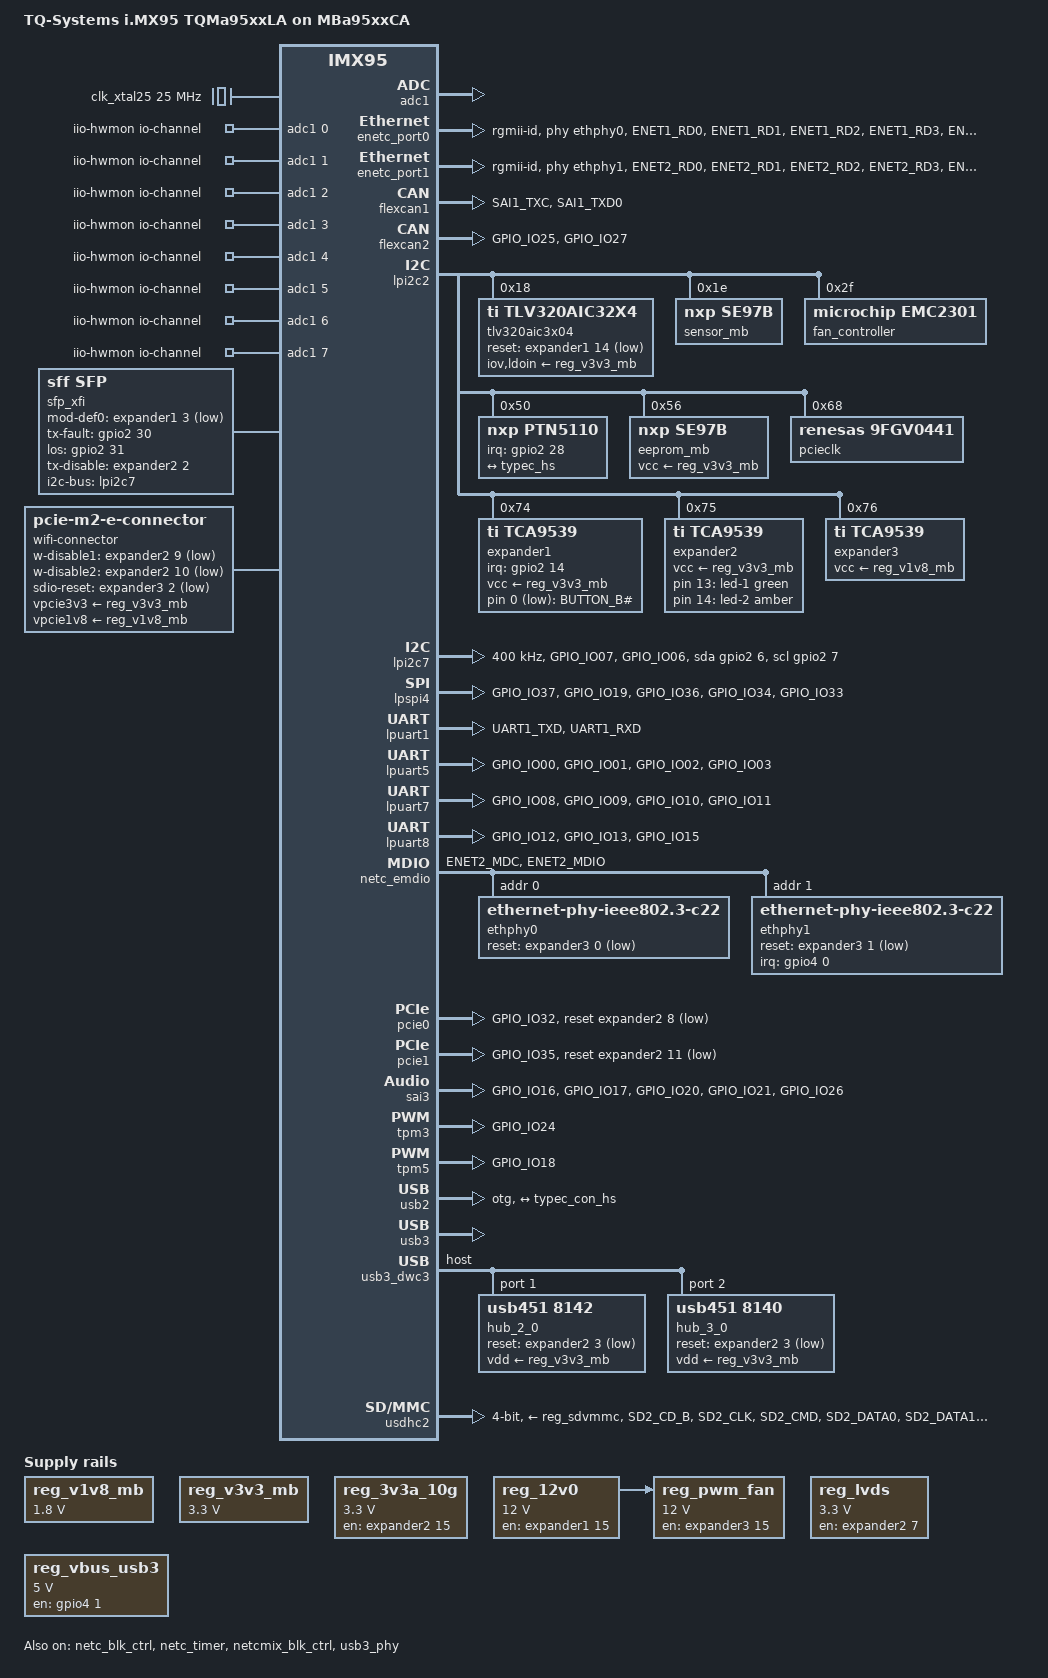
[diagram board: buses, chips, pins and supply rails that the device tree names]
// SPDX-License-Identifier: (GPL-2.0-or-later OR MIT)
/*
 * Copyright (c) 2024-2026 TQ-Systems GmbH <linux@ew.tq-group.com>,
 * D-82229 Seefeld, Germany.
 * Author: Alexander Stein
 * Author: Markus Niebel
 */

/dts-v1/;

#include <dt-bindings/leds/common.h>
#include <dt-bindings/net/ti-dp83867.h>
#include <dt-bindings/pwm/pwm.h>
#include <dt-bindings/usb/pd.h>
#include "imx95-tqma9596la.dtsi"

/ {
	model = "TQ-Systems i.MX95 TQMa95xxLA on MBa95xxCA";
	compatible = "tq,imx95-tqma9596la-mba95xxca", "tq,imx95-tqma9596la", "fsl,imx95";
	chassis-type = "embedded";

	aliases {
		ethernet0 = &enetc_port0;
		ethernet1 = &enetc_port1;
		ethernet2 = &enetc_port2;
		gpio0 = &gpio1;
		gpio1 = &gpio2;
		gpio2 = &gpio3;
		gpio3 = &gpio4;
		i2c0 = &lpi2c1;
		i2c1 = &lpi2c2;
		i2c2 = &lpi2c3;
		i2c3 = &lpi2c4;
		i2c4 = &lpi2c5;
		i2c5 = &lpi2c6;
		i2c6 = &lpi2c7;
		i2c7 = &lpi2c8;
		mmc0 = &usdhc1;
		mmc1 = &usdhc2;
		rtc0 = &pcf85063;
		rtc1 = &scmi_bbm;
		serial0 = &lpuart1;
		serial1 = &lpuart2;
		serial2 = &lpuart3;
		serial3 = &lpuart4;
		serial4 = &lpuart5;
		serial5 = &lpuart6;
		serial6 = &lpuart7;
		serial7 = &lpuart8;
		spi0 = &flexspi1;
	};

	chosen {
		stdout-path = &lpuart1;
	};

	backlight_lvds: backlight-lvds {
		compatible = "pwm-backlight";
		pwms = <&tpm5 2 100000 0>;
		brightness-levels = <0 4 8 16 32 64 128 255>;
		default-brightness-level = <7>;
		enable-gpios = <&expander2 6 GPIO_ACTIVE_HIGH>;
		power-supply = <&reg_12v0>;
		status = "disabled";
	};

	clk_eth: clk-eth {
		compatible = "fixed-clock";
		#clock-cells = <0>;
		clock-frequency = <156250000>;
	};

	/*
	 * TODO: gate is disabled for now and GPIO are hogged
	 * ENETC driver switches the clock far too late for ENETC2 + SFP
	 */
	clk_eth_gate: clk-eth-gate {
		compatible = "gpio-gate-clock";
		enable-gpios = <&expander2 0 GPIO_ACTIVE_HIGH>;
		clocks = <&clk_eth>;
		#clock-cells = <0>;
		status = "disabled";
	};

	clk_xtal25: clk-xtal25 {
		compatible = "fixed-clock";
		#clock-cells = <0>;
		clock-frequency = <25000000>;
	};

	gpio-keys {
		compatible = "gpio-keys";
		autorepeat;

		button-b {
			label = "BUTTON_B#";
			linux,code = <BTN_1>;
			gpios = <&expander1 0 GPIO_ACTIVE_LOW>;
			wakeup-source;
		};
	};

	gpio-leds {
		compatible = "gpio-leds";

		led-1 {
			color = <LED_COLOR_ID_GREEN>;
			function = LED_FUNCTION_STATUS;
			gpios = <&expander2 13 GPIO_ACTIVE_HIGH>;
			linux,default-trigger = "default-on";
		};

		led-2 {
			color = <LED_COLOR_ID_AMBER>;
			function = LED_FUNCTION_HEARTBEAT;
			gpios = <&expander2 14 GPIO_ACTIVE_HIGH>;
			linux,default-trigger = "heartbeat";
		};
	};

	iio-hwmon {
		compatible = "iio-hwmon";
		io-channels = <&adc1 0>, <&adc1 1>, <&adc1 2>, <&adc1 3>,
			      <&adc1 4>, <&adc1 5>, <&adc1 6>, <&adc1 7>;
	};

	reg_v1v8_mb: regulator-v1v8-mb {
		compatible = "regulator-fixed";
		regulator-name = "V_1V8_MB";
		regulator-min-microvolt = <1800000>;
		regulator-max-microvolt = <1800000>;
		regulator-always-on;
	};

	reg_v3v3_mb: regulator-v3v3-mb {
		compatible = "regulator-fixed";
		regulator-name = "V_3V3_MB";
		regulator-min-microvolt = <3300000>;
		regulator-max-microvolt = <3300000>;
		regulator-always-on;
	};

	reg_3v3a_10g: regulator-3v3a-10g {
		compatible = "regulator-fixed";
		regulator-name = "3V3A_10G";
		regulator-min-microvolt = <3300000>;
		regulator-max-microvolt = <3300000>;
		gpio = <&expander2 15 GPIO_ACTIVE_HIGH>;
		startup-delay-us = <2000>;
		enable-active-high;
	};

	reg_12v0: regulator-12v0 {
		compatible = "regulator-fixed";
		regulator-name = "12V0";
		regulator-min-microvolt = <12000000>;
		regulator-max-microvolt = <12000000>;
		gpio = <&expander1 15 GPIO_ACTIVE_HIGH>;
		enable-active-high;
	};

	reg_pwm_fan: regulator-pwm-fan {
		compatible = "regulator-fixed";
		regulator-name = "FAN_PWR";
		regulator-min-microvolt = <12000000>;
		regulator-max-microvolt = <12000000>;
		gpio = <&expander3 15 GPIO_ACTIVE_HIGH>;
		enable-active-high;
		vin-supply = <&reg_12v0>;
		/*
		 * emc2305 fan driver lacks support for fan-supply, so
		 * alway enable it for now.
		 * Remove this line once support is added
		 */
		regulator-always-on;
	};

	reg_lvds: regulator-lvds {
		compatible = "regulator-fixed";
		regulator-name = "LCD_PWR_EN";
		regulator-min-microvolt = <3300000>;
		regulator-max-microvolt = <3300000>;
		gpio = <&expander2 7 GPIO_ACTIVE_HIGH>;
		enable-active-high;
	};

	/* USB NC limitations, RM 162.1.2 VBUS limitations */
	reg_vbus_usb3: regulator-vbus-usb3 {
		compatible = "regulator-fixed";
		regulator-min-microvolt = <5000000>;
		regulator-max-microvolt = <5000000>;
		regulator-name = "USB3_VBUS";
		gpio = <&gpio4 1 GPIO_ACTIVE_HIGH>;
		enable-active-high;
	};

	reserved-memory {
		#address-cells = <2>;
		#size-cells = <2>;
		ranges;

		linux_cma: linux,cma {
			compatible = "shared-dma-pool";
			reusable;
			size = <0 0x28000000>;
			alloc-ranges = <0 0x80000000 0 0x80000000>;
			linux,cma-default;
		};
	};

	sfp_xfi: sfp-xfi {
		compatible = "sff,sfp";
		pinctrl-names = "default";
		pinctrl-0 = <&pinctrl_sfp>;
		i2c-bus = <&lpi2c7>;
		maximum-power-milliwatt = <2000>;
		mod-def0-gpios = <&expander1 3 GPIO_ACTIVE_LOW>;
		tx-fault-gpios = <&gpio2 30 GPIO_ACTIVE_HIGH>;
		los-gpios = <&gpio2 31 GPIO_ACTIVE_HIGH>;
		tx-disable-gpios = <&expander2 2 GPIO_ACTIVE_HIGH>;
	};

	sound {
		compatible = "fsl,imx-audio-tlv320aic32x4";
		model = "tqm-tlv320aic32";
		audio-codec = <&tlv320aic3x04>;
		audio-cpu = <&sai3>;
		audio-routing =
			"IN3_L", "Mic Jack",
			"Mic Jack", "Mic Bias",
			"Headphone Jack", "HPL",
			"Headphone Jack", "HPR",
			"IN1_L", "Line In Jack",
			"IN1_R", "Line In Jack",
			"Line Out Jack", "LOL",
			"Line Out Jack", "LOR";
	};

	wifi-connector {
		compatible = "pcie-m2-e-connector";
		vpcie3v3-supply = <&reg_v3v3_mb>;
		vpcie1v8-supply = <&reg_v1v8_mb>;
		i2c-parent = <&lpi2c2>;
		w-disable1-gpios = <&expander2 9 GPIO_ACTIVE_LOW>;
		w-disable2-gpios = <&expander2 10 GPIO_ACTIVE_LOW>;
		/* UART_WAKE is connected to SM */
		/* SDIO_WAKE is connected to SM */
		sdio-reset-gpios = <&expander3 2 GPIO_ACTIVE_LOW>;
	};
};

&adc1 {
	status = "okay";
};

&enetc_port0 {
	pinctrl-names = "default";
	pinctrl-0 = <&pinctrl_enetc0>;
	phy-handle = <&ethphy0>;
	phy-mode = "rgmii-id";
	status = "okay";
};

&enetc_port1 {
	pinctrl-names = "default";
	pinctrl-0 = <&pinctrl_enetc1>;
	phy-handle = <&ethphy1>;
	phy-mode = "rgmii-id";
	status = "okay";
};

/* No support for XFI yet */
&enetc_port2 {
	sfp = <&sfp_xfi>;
	phy-mode = "10gbase-r";
	clocks = <&clk_eth>;
	managed = "in-band-status";
	status = "disabled";
};

&flexcan1 {
	pinctrl-names = "default";
	pinctrl-0 = <&pinctrl_flexcan1>;
	status = "okay";
};

&flexcan2 {
	pinctrl-names = "default";
	pinctrl-0 = <&pinctrl_flexcan2>;
	status = "okay";
};

&lpi2c2 {
	tlv320aic3x04: audio-codec@18 {
		compatible = "ti,tlv320aic32x4";
		reg = <0x18>;
		clocks = <&scmi_clk IMX95_CLK_SAI3>;
		clock-names = "mclk";
		reset-gpios = <&expander1 14 GPIO_ACTIVE_LOW>;
		iov-supply = <&reg_v3v3_mb>;
		ldoin-supply = <&reg_v3v3_mb>;
	};

	sensor_mb: temperature-sensor@1e {
		compatible = "nxp,se97b", "jedec,jc-42.4-temp";
		reg = <0x1e>;
	};

	fan_controller: fan-controller@2f {
		compatible = "microchip,emc2301", "microchip,emc2305";
		reg = <0x2f>;
		#address-cells = <1>;
		#size-cells = <0>;
		#pwm-cells = <3>;
		status = "okay";

		fan: fan@0 {
			reg = <0x0>;
			pwms = <&fan_controller 40000 PWM_POLARITY_INVERTED 1>;
			#cooling-cells = <2>;
			fan-supply = <&reg_pwm_fan>;
		};
	};

	ptn5110: usb-typec@50 {
		compatible = "nxp,ptn5110", "tcpci";
		reg = <0x50>;
		pinctrl-names = "default";
		pinctrl-0 = <&pinctrl_typec>;
		interrupt-parent = <&gpio2>;
		interrupts = <28 IRQ_TYPE_LEVEL_LOW>;

		typec_con: connector {
			compatible = "usb-c-connector";
			label = "X9";
			power-role = "source";
			data-role = "dual";
			source-pdos = <PDO_FIXED(5000, 500, PDO_FIXED_USB_COMM)>;
			self-powered;

			port {
				typec_con_hs: endpoint {
					remote-endpoint = <&typec_hs>;
				};
			};
		};
	};

	eeprom_mb: eeprom@56 {
		compatible = "nxp,se97b", "atmel,24c02";
		reg = <0x56>;
		pagesize = <16>;
		vcc-supply = <&reg_v3v3_mb>;
	};

	pcieclk: clock-generator@68 {
		compatible = "renesas,9fgv0441";
		reg = <0x68>;
		clocks = <&clk_xtal25>;
		#clock-cells = <1>;
	};

	/* D39 IN/OUT 3V3 */
	expander1: gpio@74 {
		compatible = "ti,tca9539";
		reg = <0x74>;
		vcc-supply = <&reg_v3v3_mb>;
		pinctrl-names = "default";
		pinctrl-0 = <&pinctrl_expander1>;
		gpio-controller;
		#gpio-cells = <2>;
		interrupt-controller;
		#interrupt-cells = <2>;
		interrupt-parent = <&gpio2>;
		interrupts = <14 IRQ_TYPE_EDGE_FALLING>;

		gpio-line-names =
			/* 00 */ "BUTTON_B#", "CAM0_SYNC_3V3",
			/* 02 */ "CAM1_SYNC_3V3", "SFP_MOD_ABS",
			/* 04 */ "DIG_IN1", "DIG_IN2",
			/* 06 */ "DIG_IN3", "DIG_IN4",
			/* 08 */ "DIG_OUT_1_2_STATE", "DIG_OUT_3_4_STATE",
			/* 10 */ "DIG_OUT_1_EN", "DIG_OUT_2_EN",
			/* 12 */ "DIG_OUT_3_EN", "DIG_OUT_4_EN",
			/* 14 */ "AUDIO_RST#", "12V_EN";
	};

	/* D40 OUT 3V3 */
	expander2: gpio@75 {
		compatible = "ti,tca9539";
		reg = <0x75>;
		vcc-supply = <&reg_v3v3_mb>;
		gpio-controller;
		#gpio-cells = <2>;

		gpio-line-names =
			/* 00 */ "ETH10G_REFCLK_EN", "ETH10G_REFCLK_RST#",
			/* 02 */ "SFP_TX_DIS", "USB3_RESET#",
			/* 04 */ "USB2_RESET#", "LCD_RESET#",
			/* 06 */ "LCD_BLT_EN", "LCD_PWR_EN",
			/* 08 */ "M2_KEYE_PERST#", "M2_KEYE_WDISABLE1#",
			/* 10 */ "M2_KEYE_WDISABLE2#", "M2_KEYB_PERST#",
			/* 12 */ "M2_KEYB_WDISABLE1#", "USER_LED1",
			/* 14 */ "USER_LED2", "3V3A_10G_EN";

		eth10g-refclk-en-hog {
			gpio-hog;
			gpios = <0 GPIO_ACTIVE_HIGH>;
			output-high;
			line-name = "ETH10G_REFCLK_EN";
		};

		eth10g-refclk-rst-hog {
			gpio-hog;
			gpios = <1 GPIO_ACTIVE_LOW>;
			output-low;
			line-name = "ETH10G_REFCLK_RST#";
		};

		m2-keyb-wdisable1-hog {
			gpio-hog;
			gpios = <12 GPIO_ACTIVE_LOW>;
			output-low;
			line-name = "M2_KEYB_WDISABLE1#";
		};
	};

	/* D41 OUT 1V8 */
	expander3: gpio@76 {
		compatible = "ti,tca9539";
		reg = <0x76>;
		vcc-supply = <&reg_v1v8_mb>;
		gpio-controller;
		#gpio-cells = <2>;

		gpio-line-names =
			/* 00 */ "ENET1_RESET#", "ENET2_RESET#",
			/* 02 */ "M2_KEYE_SDIO_RST#", "M2_KEYE_DEV_WLAN_WAKE#",
			/* 04 */ "M2_KEYE_DEV_BT_WAKE", "M2_KEYB_W_DISABLE2#",
			/* 06 */ "M2_KEYB_RST#", "M2_KEYB_FULL_CARD_PWR_OFF#",
			/* 08 */ "M2_KEYB_DPR", "CAM0_PWR#",
			/* 10 */ "CAM1_PWR#", "CAM0_RST#",
			/* 12 */ "CAM1_RST#", "CAM0_TRIGGER",
			/* 14 */ "CAM1_TRIGGER", "FAN_PWR_EN";

		/* vendor defined pin 42 */
		m2-keye-dev_wlan-wake-hog {
			gpio-hog;
			gpios = <3 GPIO_ACTIVE_LOW>;
			input;
			line-name = "M2_KEYE_DEV_WLAN_WAKE#";
		};

		/* vendor defined pin 40 */
		m2-keye-dev_bt-wake-hog {
			gpio-hog;
			gpios = <4 GPIO_ACTIVE_LOW>;
			input;
			line-name = "M2_KEYE_DEV_BT_WAKE#";
		};

		m2-keyb-wdisable2-hog {
			gpio-hog;
			gpios = <5 GPIO_ACTIVE_LOW>;
			output-low;
			line-name = "M2_KEYB_WDISABLE2#";
		};

		m2-keyb-rst-hog {
			gpio-hog;
			gpios = <6 GPIO_ACTIVE_LOW>;
			output-low;
			line-name = "M2_KEYB_RST#";
		};

		m2-keyb-full-card-pwr-off-hog {
			gpio-hog;
			gpios = <7 GPIO_ACTIVE_LOW>;
			output-low;
			line-name = "M2_KEYB_FULL_CARD_PWR_OFF#";
		};
	};
};

/* X4 + SFP */
&lpi2c7 {
	clock-frequency = <400000>;
	pinctrl-names = "default", "gpio";
	pinctrl-0 = <&pinctrl_lpi2c7>;
	pinctrl-1 = <&pinctrl_lpi2c7_recovery>;
	scl-gpios = <&gpio2 7 (GPIO_ACTIVE_HIGH | GPIO_OPEN_DRAIN)>;
	sda-gpios = <&gpio2 6 (GPIO_ACTIVE_HIGH | GPIO_OPEN_DRAIN)>;
	status = "okay";

	/* TODO: 0x19: retimer */

	/* 0x50 / 0x51: SFP EEPROM */
};

/* X4 */
&lpspi4 {
	pinctrl-names = "default";
	pinctrl-0 = <&pinctrl_lpspi4>;
	cs-gpios = <&gpio5 14 GPIO_ACTIVE_LOW>, <&gpio5 13 GPIO_ACTIVE_LOW>;
	/* max 30 MHz as per datasheet, without SCK loopback via pad (LPSPI_CFGR1[SAMPLE]) */
	status = "okay";
};

&lpuart1 {
	/* console */
	pinctrl-names = "default";
	pinctrl-0 = <&pinctrl_lpuart1>;
	status = "okay";
};

&lpuart2 {
	/* SM */
	pinctrl-names = "default";
	pinctrl-0 = <&pinctrl_lpuart2>;
	status = "reserved";
};

&lpuart5 {
	/* X16 M.2 KEY E */
	pinctrl-names = "default";
	pinctrl-0 = <&pinctrl_lpuart5>;
	status = "okay";
};

&lpuart7 {
	/* X5 */
	pinctrl-names = "default";
	pinctrl-0 = <&pinctrl_lpuart7>;
	status = "okay";
};

&lpuart8 {
	/* X15 */
	pinctrl-names = "default";
	pinctrl-0 = <&pinctrl_lpuart8>;
	linux,rs485-enabled-at-boot-time;
	status = "okay";
};

&netc_blk_ctrl {
	status = "okay";
};

&netc_emdio {
	pinctrl-names = "default";
	pinctrl-0 = <&pinctrl_emdio>;
	status = "okay";

	/* IRQ pin is AON GPIO, not usable */
	ethphy0: ethernet-phy@0 {
		compatible = "ethernet-phy-ieee802.3-c22";
		reg = <0>;
		reset-gpios = <&expander3 0 GPIO_ACTIVE_LOW>;
		reset-assert-us = <500000>;
		reset-deassert-us = <50000>;
		ti,rx-internal-delay = <DP83867_RGMIIDCTL_2_50_NS>;
		ti,tx-internal-delay = <DP83867_RGMIIDCTL_2_50_NS>;
		ti,fifo-depth = <DP83867_PHYCR_FIFO_DEPTH_4_B_NIB>;
		ti,dp83867-rxctrl-strap-quirk;
		ti,clk-output-sel = <DP83867_CLK_O_SEL_OFF>;
	};

	ethphy1: ethernet-phy@1 {
		compatible = "ethernet-phy-ieee802.3-c22";
		reg = <1>;
		pinctrl-names = "default";
		pinctrl-0 = <&pinctrl_ethphy1>;
		reset-gpios = <&expander3 1 GPIO_ACTIVE_LOW>;
		reset-assert-us = <500000>;
		reset-deassert-us = <50000>;
		interrupt-parent = <&gpio4>;
		interrupts = <0 IRQ_TYPE_LEVEL_LOW>;
		ti,rx-internal-delay = <DP83867_RGMIIDCTL_2_50_NS>;
		ti,tx-internal-delay = <DP83867_RGMIIDCTL_2_50_NS>;
		ti,fifo-depth = <DP83867_PHYCR_FIFO_DEPTH_4_B_NIB>;
		ti,dp83867-rxctrl-strap-quirk;
		ti,clk-output-sel = <DP83867_CLK_O_SEL_OFF>;
	};
};

&netc_timer {
	status = "okay";
};

&netcmix_blk_ctrl {
	status = "okay";
};

/* X16 M2 / E-Key mPCIe */
&pcie0 {
	pinctrl-0 = <&pinctrl_pcie0>;
	pinctrl-names = "default";
	clocks = <&scmi_clk IMX95_CLK_HSIO>,
		 <&scmi_clk IMX95_CLK_HSIOPLL>,
		 <&scmi_clk IMX95_CLK_HSIOPLL_VCO>,
		 <&scmi_clk IMX95_CLK_HSIOPCIEAUX>,
		 <&hsio_blk_ctl 0>,
		 <&pcieclk 1>;
	clock-names = "pcie", "pcie_bus", "pcie_phy", "pcie_aux", "ref", "extref";
	reset-gpios = <&expander2 8 GPIO_ACTIVE_LOW>;
	/* Not supported on REV.0100 */
	/* supports-clkreq; */
	status = "okay";
};

/* X17 M2 / B-Key PCIe */
&pcie1 {
	pinctrl-0 = <&pinctrl_pcie1>;
	pinctrl-names = "default";
	clocks = <&scmi_clk IMX95_CLK_HSIO>,
		 <&scmi_clk IMX95_CLK_HSIOPLL>,
		 <&scmi_clk IMX95_CLK_HSIOPLL_VCO>,
		 <&scmi_clk IMX95_CLK_HSIOPCIEAUX>,
		 <&hsio_blk_ctl 0>,
		 <&pcieclk 0>;
	clock-names = "pcie", "pcie_bus", "pcie_phy", "pcie_aux", "ref", "extref";
	reset-gpios = <&expander2 11 GPIO_ACTIVE_LOW>;
	/* Not supported on REV.0100 */
	/* supports-clkreq; */
	status = "okay";
};

&reg_sdvmmc {
	status = "okay";
};

&sai3 {
	#sound-dai-cells = <0>;
	pinctrl-names = "default";
	pinctrl-0 = <&pinctrl_sai3>;
	assigned-clocks = <&scmi_clk IMX95_CLK_AUDIOPLL1_VCO>,
			  <&scmi_clk IMX95_CLK_AUDIOPLL2_VCO>,
			  <&scmi_clk IMX95_CLK_AUDIOPLL1>,
			  <&scmi_clk IMX95_CLK_AUDIOPLL2>,
			  <&scmi_clk IMX95_CLK_SAI3>;
	assigned-clock-parents = <0>, <0>, <0>, <0>,
				 <&scmi_clk IMX95_CLK_AUDIOPLL1>;
	assigned-clock-rates = <3932160000>,
			       <3612672000>, <393216000>,
			       <361267200>, <12288000>;
	fsl,sai-mclk-direction-output;
	status = "okay";
};

&scmi_bbm {
	linux,code = <KEY_POWER>;
};

&thermal_zones {
	a55-thermal {
		trips {
			cpu_active0: trip-active0 {
				temperature = <40000>;
				hysteresis = <5000>;
				type = "active";
			};

			cpu_active1: trip-active1 {
				temperature = <48000>;
				hysteresis = <3000>;
				type = "active";
			};

			cpu_active2: trip-active2 {
				temperature = <60000>;
				hysteresis = <10000>;
				type = "active";
			};
		};

		cooling-maps {
			map1 {
				trip = <&cpu_active0>;
				cooling-device = <&fan 0 2>;
			};

			map2 {
				trip = <&cpu_active1>;
				cooling-device = <&fan 3 5>;
			};

			map3 {
				trip = <&cpu_active2>;
				cooling-device = <&fan 6 10>;
			};
		};
	};
};

&tpm3 {
	pinctrl-names = "default";
	pinctrl-0 = <&pinctrl_tpm3>;
	status = "okay";
};

&tpm5 {
	pinctrl-names = "default";
	pinctrl-0 = <&pinctrl_tpm5>;
};

&usb2 {
	dr_mode = "otg";
	hnp-disable;
	srp-disable;
	adp-disable;
	usb-role-switch;
	disable-over-current;
	samsung,picophy-pre-emp-curr-control = <3>;
	samsung,picophy-dc-vol-level-adjust = <7>;
	status = "okay";

	port {
		typec_hs: endpoint {
			remote-endpoint = <&typec_con_hs>;
		};
	};
};

&usb3 {
	status = "okay";
};

&usb3_dwc3 {
	dr_mode = "host";
	#address-cells = <1>;
	#size-cells = <0>;
	status = "okay";

	hub_2_0: hub@1 {
		compatible = "usb451,8142";
		reg = <1>;
		peer-hub = <&hub_3_0>;
		reset-gpios = <&expander2 3 GPIO_ACTIVE_LOW>;
		vdd-supply = <&reg_v3v3_mb>;
		#address-cells = <1>;
		#size-cells = <0>;

		hub_2_1: hub@1 {
			compatible = "usb424,2514";
			reg = <1>;
			reset-gpios = <&expander2 4 GPIO_ACTIVE_LOW>;
			vdd-supply = <&reg_v3v3_mb>;
			vdda-supply = <&reg_v3v3_mb>;
		};
	};

	hub_3_0: hub@2 {
		compatible = "usb451,8140";
		reg = <2>;
		peer-hub = <&hub_2_0>;
		reset-gpios = <&expander2 3 GPIO_ACTIVE_LOW>;
		vdd-supply = <&reg_v3v3_mb>;
	};
};

&usb3_phy {
	pinctrl-names = "default";
	pinctrl-0 = <&pinctrl_usb3>;
	vbus-supply = <&reg_vbus_usb3>;
	status = "okay";
};

/* X7 µSD */
&usdhc2 {
	pinctrl-names = "default", "state_100mhz", "state_200mhz";
	pinctrl-0 = <&pinctrl_usdhc2>;
	pinctrl-1 = <&pinctrl_usdhc2_100mhz>;
	pinctrl-2 = <&pinctrl_usdhc2_200mhz>;
	vmmc-supply = <&reg_sdvmmc>;
	cd-gpios = <&gpio3 0 GPIO_ACTIVE_LOW>;
	no-mmc;
	no-sdio;
	disable-wp;
	bus-width = <4>;
	status = "okay";
};

&scmi_iomuxc {
	pinctrl_enetc0: enetc0grp {
		fsl,pins = <IMX95_PAD_ENET1_RD0__NETCMIX_TOP_ETH0_RGMII_RD0		0x1100>,
			   <IMX95_PAD_ENET1_RD1__NETCMIX_TOP_ETH0_RGMII_RD1		0x1100>,
			   <IMX95_PAD_ENET1_RD2__NETCMIX_TOP_ETH0_RGMII_RD2		0x1100>,
			   <IMX95_PAD_ENET1_RD3__NETCMIX_TOP_ETH0_RGMII_RD3		0x1100>,
			   <IMX95_PAD_ENET1_RXC__NETCMIX_TOP_ETH0_RGMII_RX_CLK		0x1100>,
			   <IMX95_PAD_ENET1_RX_CTL__NETCMIX_TOP_ETH0_RGMII_RX_CTL	0x1100>,
			   <IMX95_PAD_ENET1_TD0__NETCMIX_TOP_ETH0_RGMII_TD0		0x11e>,
			   <IMX95_PAD_ENET1_TD1__NETCMIX_TOP_ETH0_RGMII_TD1		0x11e>,
			   <IMX95_PAD_ENET1_TD2__NETCMIX_TOP_ETH0_RGMII_TD2		0x11e>,
			   <IMX95_PAD_ENET1_TD3__NETCMIX_TOP_ETH0_RGMII_TD3		0x11e>,
			   <IMX95_PAD_ENET1_TXC__NETCMIX_TOP_ETH0_RGMII_TX_CLK		0x11e>,
			   <IMX95_PAD_ENET1_TX_CTL__NETCMIX_TOP_ETH0_RGMII_TX_CTL	0x11e>;
	};

	pinctrl_enetc1: enetc1grp {
		fsl,pins = <IMX95_PAD_ENET2_RD0__NETCMIX_TOP_ETH1_RGMII_RD0		0x1100>,
			   <IMX95_PAD_ENET2_RD1__NETCMIX_TOP_ETH1_RGMII_RD1		0x1100>,
			   <IMX95_PAD_ENET2_RD2__NETCMIX_TOP_ETH1_RGMII_RD2		0x1100>,
			   <IMX95_PAD_ENET2_RD3__NETCMIX_TOP_ETH1_RGMII_RD3		0x1100>,
			   <IMX95_PAD_ENET2_RXC__NETCMIX_TOP_ETH1_RGMII_RX_CLK		0x1100>,
			   <IMX95_PAD_ENET2_RX_CTL__NETCMIX_TOP_ETH1_RGMII_RX_CTL	0x1100>,
			   <IMX95_PAD_ENET2_TD0__NETCMIX_TOP_ETH1_RGMII_TD0		0x11e>,
			   <IMX95_PAD_ENET2_TD1__NETCMIX_TOP_ETH1_RGMII_TD1		0x11e>,
			   <IMX95_PAD_ENET2_TD2__NETCMIX_TOP_ETH1_RGMII_TD2		0x11e>,
			   <IMX95_PAD_ENET2_TD3__NETCMIX_TOP_ETH1_RGMII_TD3		0x11e>,
			   <IMX95_PAD_ENET2_TXC__NETCMIX_TOP_ETH1_RGMII_TX_CLK		0x11e>,
			   <IMX95_PAD_ENET2_TX_CTL__NETCMIX_TOP_ETH1_RGMII_TX_CTL	0x11e>;
	};

	pinctrl_ethphy1: ethphy1grp {
		fsl,pins = <IMX95_PAD_ENET1_MDC__GPIO4_IO_BIT0				0x1100>;
	};

	pinctrl_expander1: expander1grp {
		fsl,pins = <IMX95_PAD_GPIO_IO14__GPIO2_IO_BIT14				0x1100>;
	};

	pinctrl_flexcan1: flexcan1grp {
		fsl,pins = <IMX95_PAD_SAI1_TXC__AONMIX_TOP_CAN1_RX		0x1300>,
			   <IMX95_PAD_SAI1_TXD0__AONMIX_TOP_CAN1_TX		0x31e>;
	};

	pinctrl_flexcan2: flexcan2grp {
		fsl,pins = <IMX95_PAD_GPIO_IO25__CAN2_TX		0x31e>,
			   <IMX95_PAD_GPIO_IO27__CAN2_RX		0x1300>;
	};

	pinctrl_lpi2c7: lpi2c7grp {
		fsl,pins = <IMX95_PAD_GPIO_IO07__LPI2C7_SCL	0x40001b1e>,
			   <IMX95_PAD_GPIO_IO06__LPI2C7_SDA	0x40001b1e>;
	};

	pinctrl_lpi2c7_recovery: lpi2c7recoverygrp {
		fsl,pins = <IMX95_PAD_GPIO_IO07__GPIO2_IO_BIT7	0x40001b1e>,
			   <IMX95_PAD_GPIO_IO06__GPIO2_IO_BIT6	0x40001b1e>;
	};

	pinctrl_lpspi4: lpspi4grp {
		fsl,pins = <IMX95_PAD_GPIO_IO37__LPSPI4_SCK	0x11e>,
			   <IMX95_PAD_GPIO_IO19__LPSPI4_SIN	0x111e>,
			   <IMX95_PAD_GPIO_IO36__LPSPI4_SOUT	0x11e>,
			   <IMX95_PAD_GPIO_IO34__GPIO5_IO_BIT14	0x11e>,
			   <IMX95_PAD_GPIO_IO33__GPIO5_IO_BIT13	0x11e>;
	};

	pinctrl_lpuart1: lpuart1grp {
		fsl,pins = <IMX95_PAD_UART1_TXD__AONMIX_TOP_LPUART1_TX		0x31e>,
			   <IMX95_PAD_UART1_RXD__AONMIX_TOP_LPUART1_RX		0x1300>;
	};

	pinctrl_lpuart2: lpuart2grp {
		fsl,pins = <IMX95_PAD_UART2_TXD__AONMIX_TOP_LPUART2_TX		0x31e>,
			   <IMX95_PAD_UART2_RXD__AONMIX_TOP_LPUART2_RX		0x1300>;
	};

	pinctrl_lpuart5: lpuart5grp {
		fsl,pins = <IMX95_PAD_GPIO_IO00__LPUART5_TX			0x31e>,
			   <IMX95_PAD_GPIO_IO01__LPUART5_RX			0x1300>,
			   <IMX95_PAD_GPIO_IO02__LPUART5_CTS_B			0x1300>,
			   <IMX95_PAD_GPIO_IO03__LPUART5_RTS_B			0x31e>;
	};

	pinctrl_lpuart7: lpuart7grp {
		fsl,pins = <IMX95_PAD_GPIO_IO08__LPUART7_TX			0x31e>,
			   <IMX95_PAD_GPIO_IO09__LPUART7_RX			0x1300>,
			   <IMX95_PAD_GPIO_IO10__LPUART7_CTS_B			0x1300>,
			   <IMX95_PAD_GPIO_IO11__LPUART7_RTS_B			0x31e>;
	};

	pinctrl_lpuart8: lpuart8grp {
		fsl,pins = <IMX95_PAD_GPIO_IO12__LPUART8_TX			0x31e>,
			   <IMX95_PAD_GPIO_IO13__LPUART8_RX			0x1300>,
			   <IMX95_PAD_GPIO_IO15__LPUART8_RTS_B			0x31e>;
	};

	pinctrl_emdio: emdiogrp {
		fsl,pins = <IMX95_PAD_ENET2_MDC__NETCMIX_TOP_NETC_MDC		0x51e>,
			   <IMX95_PAD_ENET2_MDIO__NETCMIX_TOP_NETC_MDIO		0x51e>;
	};

	pinctrl_pcie0: pcie0grp {
		fsl,pins = <IMX95_PAD_GPIO_IO32__HSIOMIX_TOP_PCIE1_CLKREQ_B	0x111e>;
	};

	pinctrl_pcie1: pcie1grp {
		fsl,pins = <IMX95_PAD_GPIO_IO35__HSIOMIX_TOP_PCIE2_CLKREQ_B	0x111e>;
	};

	pinctrl_sai3: sai3grp {
		fsl,pins = <IMX95_PAD_GPIO_IO16__SAI3_TX_BCLK			0x51e>,
			   <IMX95_PAD_GPIO_IO17__SAI3_MCLK			0x51e>,
			   <IMX95_PAD_GPIO_IO20__SAI3_RX_DATA_BIT0		0x1300>,
			   <IMX95_PAD_GPIO_IO21__SAI3_TX_DATA_BIT0		0x51e>,
			   <IMX95_PAD_GPIO_IO26__SAI3_TX_SYNC			0x51e>;
	};

	pinctrl_retimer: retimergrp {
		fsl,pins = <IMX95_PAD_GPIO_IO29__GPIO2_IO_BIT29			0x1100>;
	};

	pinctrl_sfp: sfpgrp {
		fsl,pins = <IMX95_PAD_GPIO_IO30__GPIO2_IO_BIT30			0x1100>,
			   <IMX95_PAD_GPIO_IO31__GPIO2_IO_BIT31			0x1100>;
	};

	pinctrl_tpm3: tpm3grp {
		fsl,pins = <IMX95_PAD_GPIO_IO24__TPM3_CH3			0x51e>;
	};

	pinctrl_tpm5: tpm5grp {
		fsl,pins = <IMX95_PAD_GPIO_IO18__TPM5_CH2			0x51e>;
	};

	pinctrl_typec: typecgrp {
		fsl,pins = <IMX95_PAD_GPIO_IO28__GPIO2_IO_BIT28			0x1100>;
	};

	pinctrl_usb3: usb3grp {
		fsl,pins = <IMX95_PAD_ENET1_MDIO__GPIO4_IO_BIT1			0x31e>;
	};

	pinctrl_usdhc2: usdhc2grp {
		fsl,pins = <IMX95_PAD_SD2_CD_B__GPIO3_IO_BIT0			0x1100>,
			   <IMX95_PAD_SD2_CLK__USDHC2_CLK			0x51e>,
			   <IMX95_PAD_SD2_CMD__USDHC2_CMD			0x31e>,
			   <IMX95_PAD_SD2_DATA0__USDHC2_DATA0			0x131e>,
			   <IMX95_PAD_SD2_DATA1__USDHC2_DATA1			0x131e>,
			   <IMX95_PAD_SD2_DATA2__USDHC2_DATA2			0x131e>,
			   <IMX95_PAD_SD2_DATA3__USDHC2_DATA3			0x131e>,
			   <IMX95_PAD_SD2_VSELECT__USDHC2_VSELECT		0x51e>;
	};

	pinctrl_usdhc2_100mhz: usdhc2-100mhzgrp {
		fsl,pins = <IMX95_PAD_SD2_CD_B__GPIO3_IO_BIT0			0x1100>,
			   <IMX95_PAD_SD2_CLK__USDHC2_CLK			0x58e>,
			   <IMX95_PAD_SD2_CMD__USDHC2_CMD			0x38e>,
			   <IMX95_PAD_SD2_DATA0__USDHC2_DATA0			0x138e>,
			   <IMX95_PAD_SD2_DATA1__USDHC2_DATA1			0x138e>,
			   <IMX95_PAD_SD2_DATA2__USDHC2_DATA2			0x138e>,
			   <IMX95_PAD_SD2_DATA3__USDHC2_DATA3			0x138e>,
			   <IMX95_PAD_SD2_VSELECT__USDHC2_VSELECT		0x51e>;
	};

	pinctrl_usdhc2_200mhz: usdhc2-200mhzgrp {
		fsl,pins = <IMX95_PAD_SD2_CD_B__GPIO3_IO_BIT0			0x1100>,
			   <IMX95_PAD_SD2_CLK__USDHC2_CLK			0x5fe>,
			   <IMX95_PAD_SD2_CMD__USDHC2_CMD			0x3fe>,
			   <IMX95_PAD_SD2_DATA0__USDHC2_DATA0			0x13fe>,
			   <IMX95_PAD_SD2_DATA1__USDHC2_DATA1			0x13fe>,
			   <IMX95_PAD_SD2_DATA2__USDHC2_DATA2			0x13fe>,
			   <IMX95_PAD_SD2_DATA3__USDHC2_DATA3			0x13fe>,
			   <IMX95_PAD_SD2_VSELECT__USDHC2_VSELECT		0x51e>;
	};
};
